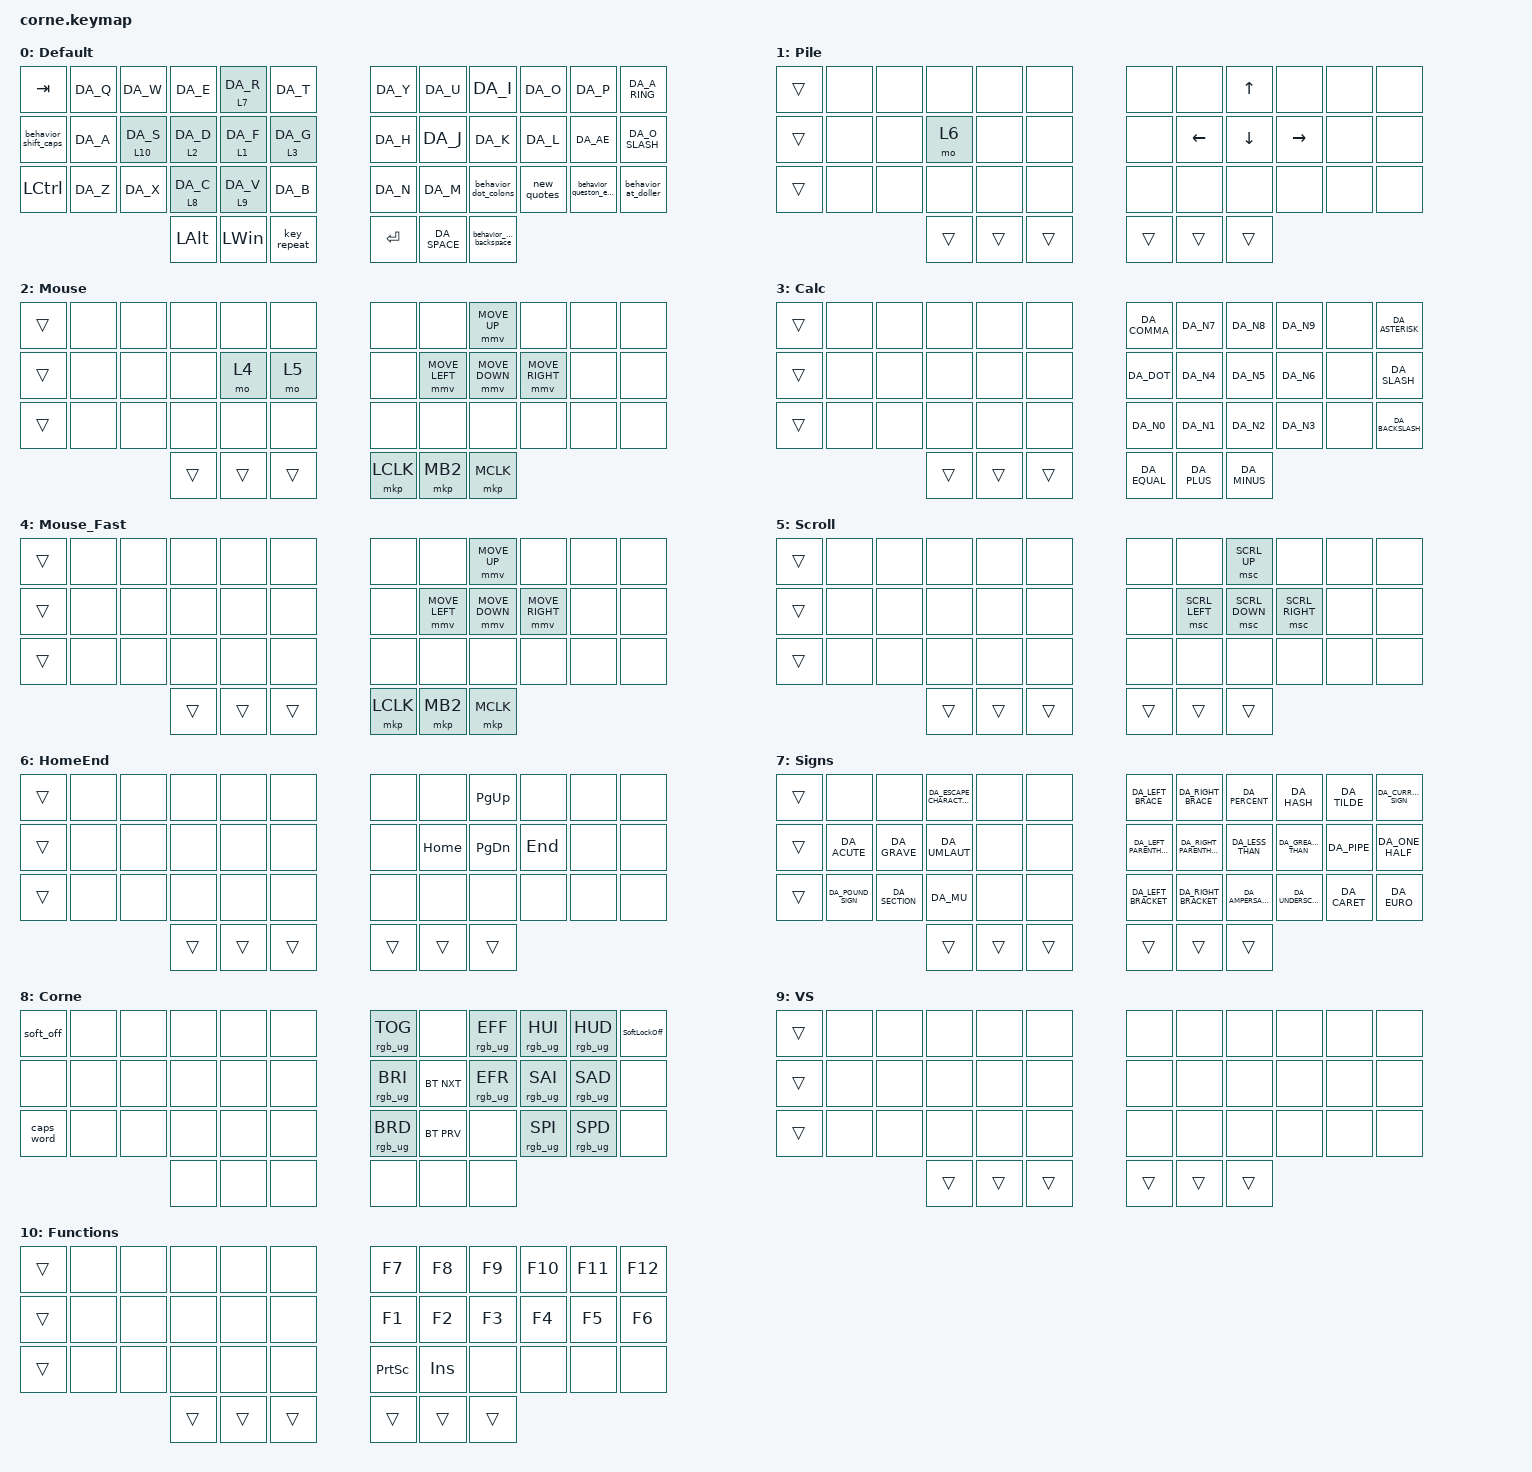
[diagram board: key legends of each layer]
/*
 * Copyright (c) 2020 The ZMK Contributors 
 *
 * SPDX-License-Identifier: MIT
 */

#include "keys_da.h"

#include <behaviors.dtsi>
#include <input/processors.dtsi>

#include <dt-bindings/zmk/bt.h>
#include <dt-bindings/zmk/keys.h>
#include <dt-bindings/zmk/pointing.h>
#include <dt-bindings/zmk/rgb.h>

#define ZMK_MOUSE_DEFAULT_MOVE_VAL 1500
#define ZMK_MOUSE_DEFAULT_SCRL_VAL 20
#define CONSTLAYERMOUSEFAST 4

/* Mouse speed tweak on a specific layer */
&mmv_input_listener {
    set_mouse_fast {
        layers = <CONSTLAYERMOUSEFAST>;
        input-processors = <&zip_xy_scaler 2 1>;
    };
};

 / {
    behaviors {
        hold_behavior: hold_behavior {
            compatible = "zmk,behavior-hold-tap";
            label = "HOLD_BEHAVIOR";
            bindings = <&mo>, <&kp>;

            #binding-cells = <2>;
            tapping-term-ms = <200>;
            flavor = "tap-preferred";
        };

        behavior_shift_caps: behavior_shift_caps {
            compatible = "zmk,behavior-tap-dance";
            label = "BEHAVIOR_SHIFT_CAPS";
            #binding-cells = <0>;
            bindings = <&kp LEFT_SHIFT>, <&kp CAPSLOCK>;
        };

        behavior_del_backspace: behavior_del_backspace {
            compatible = "zmk,behavior-mod-morph";
            label = "BEHAVIOR_DEL_BACKSPACE";
            bindings = <&kp BACKSPACE>, <&kp DELETE>;
            #binding-cells = <0>;
            mods = <(MOD_LSFT)>;
        };

        behavior_dot_colons: behavior_dot_colons {
            compatible = "zmk,behavior-mod-morph";
            label = "BEHAVIOR_DOT_COLONS";
            bindings = <&kp DA_COLON>, <&kp DA_SEMICOLON>;
            #binding-cells = <0>;
            mods = <(MOD_LSFT)>;
        };

        new_quotes: new_quotes {
            compatible = "zmk,behavior-mod-morph";
            label = "NEW_QUOTES";
            bindings = <&kp DA_DOUBLE_QUOTES>, <&kp DA_SINGLE_QUOTE>;
            #binding-cells = <0>;
            mods = <(MOD_LSFT)>;
        };

        behavior_queston_exc: behavior_queston_exc {
            compatible = "zmk,behavior-mod-morph";
            label = "BEHAVIOR_QUESTON_EXC";
            bindings = <&kp DA_QUESTION>, <&kp DA_EXCLAMATION>;
            #binding-cells = <0>;
            mods = <(MOD_LSFT)>;
        };

        behavior_at_doller: behavior_at_doller {
            compatible = "zmk,behavior-mod-morph";
            label = "BEHAVIOR_AT_DOLLER";
            bindings = <&kp DA_AT_SIGN>, <&kp DA_DOLLAR>;
            #binding-cells = <0>;
            mods = <(MOD_LSFT)>;
        };

        behavior_CTRL_ESC: behavior_CTRL_ESC {
            compatible = "zmk,behavior-tap-dance";
            label = "BEHAVIOR_CTRL_ESC";
            #binding-cells = <0>;
            bindings = <&kp LCTRL>, <&kp ESC>;
        };
    };

    macros {
        SoftLockOff: SoftLockOff {
            compatible = "zmk,behavior-macro";
            #binding-cells = <0>;
            bindings = <&kp LG(DA_L) &soft_off>;
            label = "SOFTLOCKOFF";
        };
    };

    keymap {
        compatible = "zmk,keymap";

        default_layer {
            bindings = <
&kp TAB               &kp DA_Q  &kp DA_W                &kp DA_E               &hold_behavior 7 DA_R  &kp DA_T                 &kp DA_Y  &kp DA_U      &kp DA_I                 &kp DA_O     &kp DA_P               &kp DA_A_RING
&behavior_shift_caps  &kp DA_A  &hold_behavior 10 DA_S  &hold_behavior 2 DA_D  &hold_behavior 1 DA_F  &hold_behavior 3 DA_G    &kp DA_H  &kp DA_J      &kp DA_K                 &kp DA_L     &kp DA_AE              &kp DA_O_SLASH
&kp LCTRL             &kp DA_Z  &kp DA_X                &hold_behavior 8 DA_C  &hold_behavior 9 DA_V  &kp DA_B                 &kp DA_N  &kp DA_M      &behavior_dot_colons     &new_quotes  &behavior_queston_exc  &behavior_at_doller
                                                        &kp LEFT_ALT           &kp LEFT_WIN           &key_repeat              &kp RET   &kp DA_SPACE  &behavior_del_backspace
            >;
            label = "Default";
        };

        layer_Pile {
            bindings = <
&trans  &none  &none  &none   &none   &none     &none   &none           &kp UP_ARROW    &none            &none  &none
&trans  &none  &none  &mo 6   &none   &none     &none   &kp LEFT_ARROW  &kp DOWN_ARROW  &kp RIGHT_ARROW  &none  &none
&trans  &none  &none  &none   &none   &none     &none   &none           &none           &none            &none  &none
                      &trans  &trans  &trans    &trans  &trans          &trans
            >;
            label = "Pile";
        };

        layer_Mouse {
            bindings = <
&trans  &none  &none  &none   &none   &none     &none      &none           &mmv MOVE_UP    &none            &none  &none
&trans  &none  &none  &none   &mo 4   &mo 5     &none      &mmv MOVE_LEFT  &mmv MOVE_DOWN  &mmv MOVE_RIGHT  &none  &none
&trans  &none  &none  &none   &none   &none     &none      &none           &none           &none            &none  &none
                      &trans  &trans  &trans    &mkp LCLK  &mkp MB2        &mkp MCLK
            >;
            label = "Mouse";
        };

        layer_Calculator {
            bindings = <
&trans  &none  &none  &none   &none   &none     &kp DA_COMMA  &kp DA_N7    &kp DA_N8     &kp DA_N9  &none  &kp DA_ASTERISK
&trans  &none  &none  &none   &none   &none     &kp DA_DOT    &kp DA_N4    &kp DA_N5     &kp DA_N6  &none  &kp DA_SLASH
&trans  &none  &none  &none   &none   &none     &kp DA_N0     &kp DA_N1    &kp DA_N2     &kp DA_N3  &none  &kp DA_BACKSLASH
                      &trans  &trans  &trans    &kp DA_EQUAL  &kp DA_PLUS  &kp DA_MINUS
            >;
            label = "Calc";
        };

        layer_Mouse_Fast {
            bindings = <
&trans  &none  &none  &none   &none   &none     &none      &none           &mmv MOVE_UP    &none            &none  &none
&trans  &none  &none  &none   &none   &none     &none      &mmv MOVE_LEFT  &mmv MOVE_DOWN  &mmv MOVE_RIGHT  &none  &none
&trans  &none  &none  &none   &none   &none     &none      &none           &none           &none            &none  &none
                      &trans  &trans  &trans    &mkp LCLK  &mkp MB2        &mkp MCLK
            >;
            label = "Mouse_Fast";
        };

        layer_Mouse_Scroll {
            bindings = <
&trans  &none  &none  &none   &none   &none     &none   &none           &msc SCRL_UP    &none            &none  &none
&trans  &none  &none  &none   &none   &none     &none   &msc SCRL_LEFT  &msc SCRL_DOWN  &msc SCRL_RIGHT  &none  &none
&trans  &none  &none  &none   &none   &none     &none   &none           &none           &none            &none  &none
                      &trans  &trans  &trans    &trans  &trans          &trans
            >;
            label = "Scroll";
        };

        layer_Home_End {
            bindings = <
&trans  &none  &none  &none   &none   &none     &none   &none     &kp PAGE_UP    &none    &none  &none
&trans  &none  &none  &none   &none   &none     &none   &kp HOME  &kp PAGE_DOWN  &kp END  &none  &none
&trans  &none  &none  &none   &none   &none     &none   &none     &none          &none    &none  &none
                      &trans  &trans  &trans    &trans  &trans    &trans
            >;
            label = "HomeEnd";
        };

        layer_signs {
            bindings = <
&trans  &none              &none           &kp DA_ESCAPE_CHARACTER  &none   &none     &kp DA_LEFT_BRACE        &kp DA_RIGHT_BRACE        &kp DA_PERCENT    &kp DA_HASH          &kp DA_TILDE  &kp DA_CURRENCY_SIGN
&trans  &kp DA_ACUTE       &kp DA_GRAVE    &kp DA_UMLAUT            &none   &none     &kp DA_LEFT_PARENTHESIS  &kp DA_RIGHT_PARENTHESIS  &kp DA_LESS_THAN  &kp DA_GREATER_THAN  &kp DA_PIPE   &kp DA_ONE_HALF
&trans  &kp DA_POUND_SIGN  &kp DA_SECTION  &kp DA_MU                &none   &none     &kp DA_LEFT_BRACKET      &kp DA_RIGHT_BRACKET      &kp DA_AMPERSAND  &kp DA_UNDERSCORE    &kp DA_CARET  &kp DA_EURO
                                           &trans                   &trans  &trans    &trans                   &trans                    &trans
            >;
            label = "Signs";
        };

        /* Lighting + BT + soft off layer */
        layer_Corne {
            bindings = <
&soft_off   &none  &none  &none  &none  &none    &rgb_ug RGB_TOG  &none       &rgb_ug RGB_EFF  &rgb_ug RGB_HUI  &rgb_ug RGB_HUD  &SoftLockOff
&none       &none  &none  &none  &none  &none    &rgb_ug RGB_BRI  &bt BT_NXT  &rgb_ug RGB_EFR  &rgb_ug RGB_SAI  &rgb_ug RGB_SAD  &none
&caps_word  &none  &none  &none  &none  &none    &rgb_ug RGB_BRD  &bt BT_PRV  &none            &rgb_ug RGB_SPI  &rgb_ug RGB_SPD  &none
                          &none  &none  &none    &none            &none       &none
            >;
            label = "Corne";
        };

        layer_Visual_studio {
            bindings = <
&trans  &none  &none  &none   &none   &none     &none   &none   &none   &none  &none  &none
&trans  &none  &none  &none   &none   &none     &none   &none   &none   &none  &none  &none
&trans  &none  &none  &none   &none   &none     &none   &none   &none   &none  &none  &none
                      &trans  &trans  &trans    &trans  &trans  &trans
            >;
            label = "VS";
        };

        layer_Functions {
            bindings = <
&trans  &none  &none  &none   &none   &none     &kp F7           &kp F8   &kp F9  &kp F10  &kp F11  &kp F12
&trans  &none  &none  &none   &none   &none     &kp F1           &kp F2   &kp F3  &kp F4   &kp F5   &kp F6
&trans  &none  &none  &none   &none   &none     &kp PRINTSCREEN  &kp INS  &none   &none    &none    &none
                      &trans  &trans  &trans    &trans           &trans   &trans
            >;
            label = "Functions";
        };
    };
};
